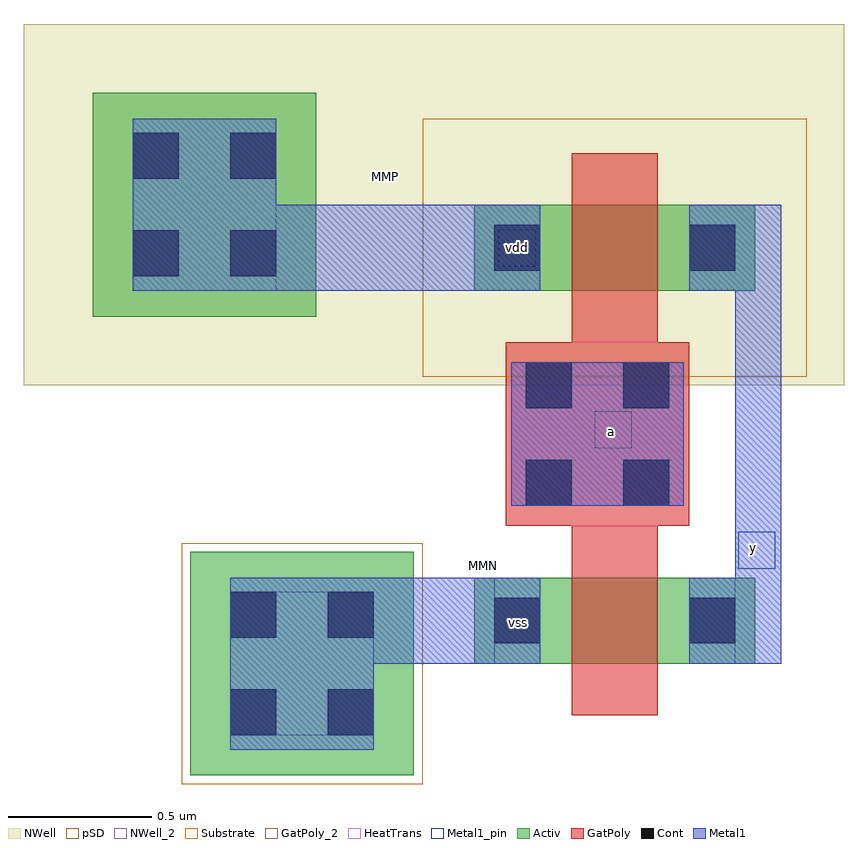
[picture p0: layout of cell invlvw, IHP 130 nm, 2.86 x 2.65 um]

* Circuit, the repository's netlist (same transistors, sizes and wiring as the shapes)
** sch_path: /foss/designs/Designs/bidir-level-shifter/xschem/logic_gates/INVLVW.sch
.subckt INVLVW a y vdd vss
*.PININFO vdd:B vss:B y:B a:B
MMP y a vdd vdd sg13_lv_pmos w=0.3u l=0.3u ng=1
MMN y a vss vss sg13_lv_nmos w=0.3u l=0.3u ng=1
.ends

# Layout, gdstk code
import gdstk
lib = gdstk.Library(unit=1e-6, precision=1e-09)
def R(c, l, rs):  # rectangles x0, y0, x1, y1
    for r in rs: c.add(gdstk.rectangle(r[:2], r[2:], *l))
Activ = (1, 0)
GatPoly = (5, 0)
GatPoly_2 = (5, 2)
Cont = (6, 0)
Metal1 = (8, 0)
Metal1_pin = (8, 2)
pSD = (14, 0)
NWell = (31, 0)
NWell_2 = (31, 2)
Substrate = (40, 0)
HeatTrans = (51, 0)

ntap1 = lib.new_cell('ntap1')
R(ntap1, Activ, [(0,0,0.78,0.78)])
R(ntap1, Cont, [(0.14,0.14,0.3,0.3), (0.48,0.14,0.64,0.3), (0.14,0.48,0.3,0.64), (0.48,0.48,0.64,0.64)])
R(ntap1, Metal1, [(0.14,0.09,0.64,0.69)])
R(ntap1, Metal1_pin, [(0.14,0.09,0.64,0.69), (0.14,0.14,0.64,0.64)])
R(ntap1, NWell, [(-0.24,-0.24,1.02,1.02), (0,0,0.78,0.78)])
R(ntap1, NWell_2, [(0,0,0.78,0.78)])
ntap1.add(gdstk.Label('well', (0.39,0.01), layer=31, texttype=0))
ntap1.add(gdstk.Label('well', (0.39,0.01), layer=63, texttype=0))

pmos = lib.new_cell('pmos')
R(pmos, Activ, [(0,0,0.3,0.3), (0,0,0.98,0.3), (0.68,0,0.98,0.3)])
R(pmos, GatPoly, [(0.34,-0.18,0.64,0.48), (0.34,-0.18,0.64,0.48)])
R(pmos, Cont, [(0.07,0.07,0.23,0.23), (0.75,0.07,0.91,0.23)])
R(pmos, Metal1, [(0.07,0,0.23,0.3), (0.07,0,0.23,0.3), (0.75,0,0.91,0.3), (0.75,0,0.91,0.3)])
R(pmos, pSD, [(-0.18,-0.3,1.16,0.6)])
R(pmos, NWell, [(-0.31,-0.31,1.29,0.61)])
R(pmos, HeatTrans, [(0.34,-0.18,0.64,0.48)])
pmos.add(gdstk.Label('pmos', (0.49,0.15), layer=63, texttype=0))
pmos.add(gdstk.Label('pmos', (0.49,0.15), layer=51, texttype=0))

nmos = lib.new_cell('nmos')
R(nmos, Activ, [(0,0,0.3,0.3), (0,0,0.98,0.3), (0.68,0,0.98,0.3)])
R(nmos, GatPoly, [(0.34,-0.18,0.64,0.48)])
R(nmos, GatPoly_2, [(0.34,-0.18,0.64,0.48)])
R(nmos, Cont, [(0.07,0.07,0.23,0.23), (0.75,0.07,0.91,0.23)])
R(nmos, Metal1, [(0.07,0,0.23,0.3), (0.75,0,0.91,0.3)])
R(nmos, Metal1_pin, [(0.07,0,0.23,0.3), (0.75,0,0.91,0.3)])
R(nmos, HeatTrans, [(0.34,-0.18,0.64,0.48)])
nmos.add(gdstk.Label('nmos', (0.49,0.15), layer=63, texttype=0))
nmos.add(gdstk.Label('nmos', (0.49,0.15), layer=51, texttype=0))

ptap1 = lib.new_cell('ptap1')
R(ptap1, Activ, [(0,0,0.78,0.78)])
R(ptap1, Cont, [(0.14,0.14,0.3,0.3), (0.48,0.14,0.64,0.3), (0.14,0.48,0.3,0.64), (0.48,0.48,0.64,0.64)])
R(ptap1, Metal1, [(0.14,0.09,0.64,0.69), (0.14,0.14,0.64,0.64)])
R(ptap1, Metal1_pin, [(0.14,0.14,0.64,0.64)])
R(ptap1, pSD, [(-0.03,-0.03,0.81,0.81)])
R(ptap1, Substrate, [(0,0,0.78,0.78)])
ptap1.add(gdstk.Label('sub!', (0.39,0.01), layer=63, texttype=0))
ptap1.add(gdstk.Label('sub!', (0.39,0.01), layer=40, texttype=0))

via_stack = lib.new_cell('via_stack')
R(via_stack, GatPoly, [(-0.32,-0.32,0.32,0.32)])
R(via_stack, Cont, [(-0.25,-0.25,-0.09,-0.09), (0.09,-0.25,0.25,-0.09), (-0.25,0.09,-0.09,0.25), (0.09,0.09,0.25,0.25)])
R(via_stack, Metal1, [(-0.3,-0.25,0.3,0.25)])

invlvw = lib.new_cell('invlvw')
R(invlvw, Metal1, [(1.22,0.43,1.64,0.73), (2.48,0.43,2.64,2.03), (0.88,1.73,1.64,2.03)])
R(invlvw, Metal1_pin, [(1.66,0.5,1.79,0.63), (2.49,0.76,2.62,0.89), (1.99,1.18,2.12,1.31), (1.655,1.815,1.785,1.945)])
R(invlvw, NWell, [(0,1.4,2.86,2.66)])
invlvw.add(gdstk.Reference(ntap1, (0.24,1.64)))
invlvw.add(gdstk.Reference(pmos, (1.57,1.73)))
invlvw.add(gdstk.Reference(nmos, (1.57,0.43)))
invlvw.add(gdstk.Reference(ptap1, (0.58,0.04)))
invlvw.add(gdstk.Reference(via_stack, (2,1.23)))
invlvw.add(gdstk.Label('MMP', (1.26,2.13), layer=63, texttype=0))
invlvw.add(gdstk.Label('MMN', (1.601,0.771), layer=63, texttype=0))
invlvw.add(gdstk.Label('vdd', (1.72,1.88), layer=8, texttype=25))
invlvw.add(gdstk.Label('a', (2.05,1.24), layer=8, texttype=25))
invlvw.add(gdstk.Label('vss', (1.724,0.574), layer=8, texttype=25))
invlvw.add(gdstk.Label('y', (2.543,0.833), layer=8, texttype=25))

lib.write_gds('invlvw.gds')
